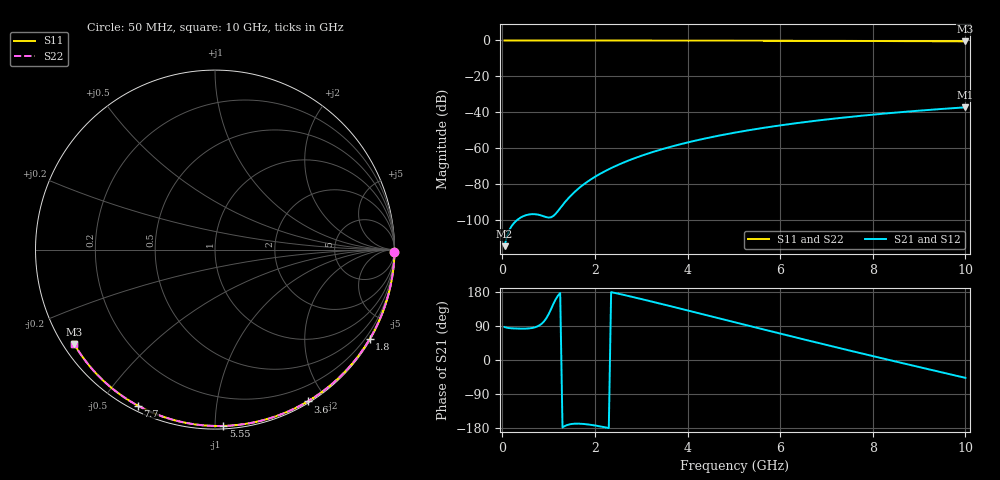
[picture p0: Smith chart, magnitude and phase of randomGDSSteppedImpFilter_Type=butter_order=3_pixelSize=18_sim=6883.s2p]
! freq	dB(S11)	phase(S11)	dB(S12)	phase(S12)
!  dB(S21)	phase(S21)	dB(S22)	phase(S22)
!S-par simulation data
#  GHz  S  DB  R 50
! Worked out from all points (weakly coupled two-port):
!   200 points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, 50 MHz to 10 GHz, reference 50 ohm
!   highest |S21| = -37.35 dB at 10 GHz (marker M1); lowest = -114.9 dB at 50 MHz (marker M2)
!   lowest |S11| = -0.5 dB at 10 GHz (marker M3), VSWR 35.24, Z = 1.55 - j15.3 ohm
!   |S11| at or under -10 dB: nowhere
!   |S22| runs from -0.5 to 0.0 dB; largest |S21 - S12| = 0
!   S11 on the Smith chart (normalised r, x): 50 MHz: open; 1.8 GHz: 0.03, -3.72; 3.6 GHz: 0.02, -1.78; 5.55 GHz: 0.02, -1.05; 7.7 GHz: 0.02, -0.62; 10 GHz: 0.03, -0.31
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0.05  -0.00 -0.9  -114.90 87.0  -114.90 87.0  -0.00 -0.9
0.45  -0.01 -7.6  -98.20 82.6  -98.20 82.6  -0.01 -7.6
0.9  -0.02 -15.2  -98.26 101.7  -98.26 101.7  -0.02 -15.2
1.3  -0.03 -21.8  -92.01 -177.9  -92.01 -177.9  -0.03 -21.8
1.75  -0.04 -29.3  -80.54 -168.7  -80.54 -168.7  -0.04 -29.3
1.8  -0.04 -30.1  -79.58 -169.3  -79.58 -169.3  -0.04 -30.1
1.95  -0.04 -32.5  -76.97 -171.7  -76.97 -171.7  -0.04 -32.5
2.1  -0.04 -35.0  -74.66 -174.8  -74.66 -174.8  -0.04 -35.0
2.3  -0.05 -38.2  -71.92 -179.6  -71.92 -179.6  -0.05 -38.2
2.5  -0.05 -41.4  -69.50 175.1  -69.50 175.1  -0.05 -41.4
2.9  -0.06 -47.8  -65.36 163.9  -65.36 163.9  -0.06 -47.7
3.4  -0.07 -55.6  -61.12 149.1  -61.12 149.1  -0.07 -55.6
3.6  -0.08 -58.6  -59.64 143.0  -59.64 143.0  -0.08 -58.6
4.3  -0.10 -69.2  -55.19 121.6  -55.19 121.6  -0.10 -69.2
5.05  -0.12 -80.2  -51.35 98.7  -51.35 98.7  -0.12 -80.2
5.55  -0.14 -87.3  -49.18 83.4  -49.18 83.4  -0.14 -87.3
6.1  -0.17 -95.0  -47.07 66.7  -47.07 66.7  -0.17 -95.0
6.7  -0.20 -103.1  -45.05 48.7  -45.05 48.7  -0.20 -103.1
7.7  -0.27 -116.4  -42.19 19.1  -42.19 19.1  -0.27 -116.4
8.35  -0.32 -124.8  -40.61 0.1  -40.61 0.1  -0.32 -124.8
9.2  -0.40 -135.8  -38.81 -24.3  -38.81 -24.3  -0.40 -135.7
10  -0.49 -146.0  -37.35 -47.1  -37.35 -47.1  -0.49 -146.0
